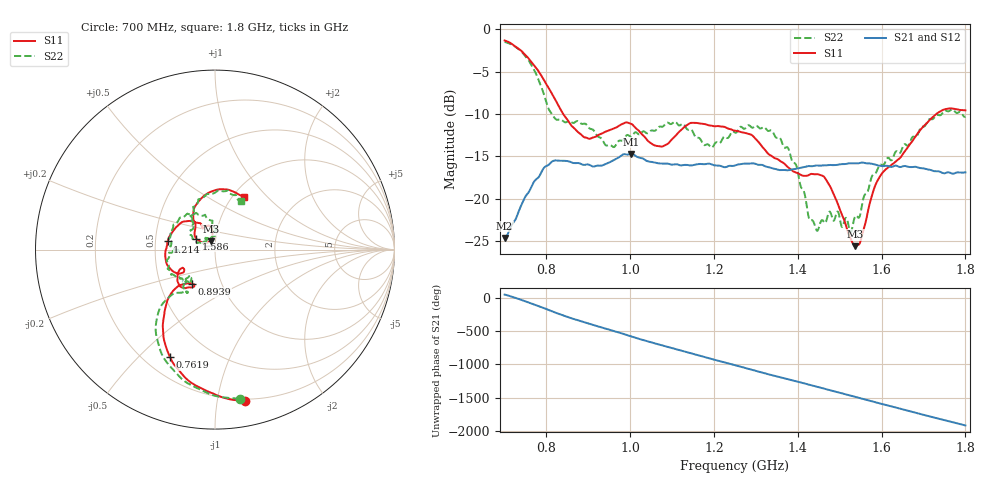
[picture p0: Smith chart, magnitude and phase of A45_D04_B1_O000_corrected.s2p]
! Created with skrf 1.9.0 (http://scikit-rf.org).
# Hz S RI R 50.0
!freq ReS11 ImS11 ReS21 ImS21 ReS12 ImS12 ReS22 ImS22
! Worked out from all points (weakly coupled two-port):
!   1601 points, 700 MHz to 1.8 GHz, reference 50 ohm
!   highest |S21| = -14.70 dB at 1.002 GHz (marker M1); lowest = -24.6 dB at 700 MHz (marker M2)
!   lowest |S11| = -25.6 dB at 1.537 GHz (marker M3), VSWR 1.11, Z = 47.4 + j4.45 ohm
!   |S11| at or under -10 dB: 839.9 MHz to 1.73 GHz (890.5 MHz wide, 69.3 % of centre)
!   |S22| runs from -23.9 to -1.5 dB; largest |S21 - S12| = 0.0034
!   S11 on the Smith chart (normalised r, x): 700 MHz: 0.19, -1.20; 761.9 MHz: 0.30, -0.62; 893.9 MHz: 0.72, -0.29; 1.214 GHz: 0.58, +0.06; 1.586 GHz: 0.80, +0.10; 1.8 GHz: 1.13, +0.74
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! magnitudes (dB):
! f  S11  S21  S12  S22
! 700 MHz  -1.3  -24.6  -24.4  -1.5
! 761.9 MHz  -3.7  -18.8  -18.7  -4.1
! 818.2 MHz  -8.0  -15.5  -15.6  -10.4
! 883.6 MHz  -12.5  -15.9  -15.8  -11.1
! 893.9 MHz  -12.8  -16.0  -16.0  -11.2
! 944.1 MHz  -12.0  -15.8  -15.9  -13.7
! 1.002 GHz  -11.2  -14.7  -14.8  -12.7
! 1.067 GHz  -13.8  -15.8  -15.8  -11.6
! 1.143 GHz  -11.1  -16.1  -16.0  -11.8
! 1.214 GHz  -11.4  -16.1  -16.1  -13.4
! 1.25 GHz  -12.0  -16.0  -16.0  -12.2
! 1.357 GHz  -15.5  -16.6  -16.5  -12.8
! 1.396 GHz  -16.9  -16.5  -16.4  -16.0
! 1.434 GHz  -17.0  -16.2  -16.1  -22.5
! 1.471 GHz  -18.0  -16.0  -16.0  -22.1
! 1.526 GHz  -24.7  -15.8  -15.8  -23.9
! 1.537 GHz  -25.6  -15.8  -15.8  -22.0
! 1.551 GHz  -24.7  -15.7  -15.8  -21.3
! 1.586 GHz  -18.2  -16.0  -16.0  -16.9
! 1.617 GHz  -16.2  -16.2  -16.1  -15.2
! 1.731 GHz  -10.0  -16.7  -16.7  -10.1
! 1.8 GHz  -9.6  -16.9  -16.9  -10.3
